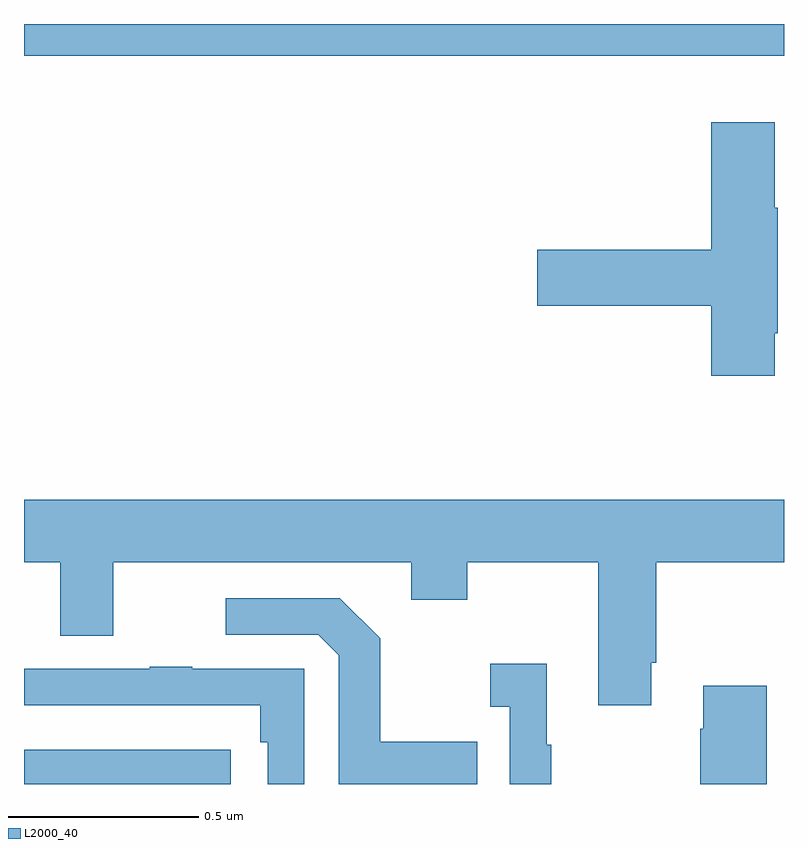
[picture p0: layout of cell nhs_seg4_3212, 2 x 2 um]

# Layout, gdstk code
import gdstk
lib = gdstk.Library(unit=1e-6, precision=1e-09)
def R(c, l, rs):  # rectangles x0, y0, x1, y1
    for r in rs: c.add(gdstk.rectangle(r[:2], r[2:], *l))
def P(c, l, *ps):  # polygons
    for p in ps: c.add(gdstk.Polygon(p, *l))
L2000_40 = (2000, 40)

nhs_seg4_3212 = lib.new_cell('nhs_seg4_3212')
R(nhs_seg4_3212, L2000_40, [(150,798.9,150.544,798.99), (150,800.816,152,800.9)])
P(nhs_seg4_3212, L2000_40, [(151.975,800.086),(151.983,800.086),(151.983,800.417),(151.975,800.417),(151.975,800.641),(151.808,800.641),(151.808,800.306),(151.35,800.306),(151.35,800.159),(151.808,800.159),(151.808,799.974),(151.975,799.974)],
  [(151.651,799.219),(151.664,799.219),(151.664,799.484),(152,799.484),(152,799.648),(150,799.648),(150,799.484),(150.095,799.484),(150.095,799.29),(150.235,799.29),(150.235,799.484),(151.019,799.484),(151.019,799.385),(151.167,799.385),(151.167,799.484),(151.511,799.484),(151.511,799.107),(151.651,799.107)],
  [(151.193,799.011),(150.937,799.011),(150.937,799.283),(150.831,799.389),(150.531,799.389),(150.531,799.293),(150.774,799.293),(150.828,799.239),(150.828,798.9),(151.193,798.9)],
  [(151.387,799.003),(151.375,799.003),(151.375,799.216),(151.227,799.216),(151.227,799.103),(151.278,799.103),(151.278,798.9),(151.387,798.9)],
  [(150.738,799.203),(150.443,799.203),(150.443,799.208),(150.331,799.208),(150.331,799.203),(150,799.203),(150,799.107),(150.622,799.107),(150.622,799.01),(150.642,799.01),(150.642,798.9),(150.738,798.9)],
  [(151.955,799.159),(151.787,799.159),(151.787,799.046),(151.78,799.046),(151.78,798.9),(151.955,798.9)])

lib.write_gds('nhs_seg4_3212.gds')
